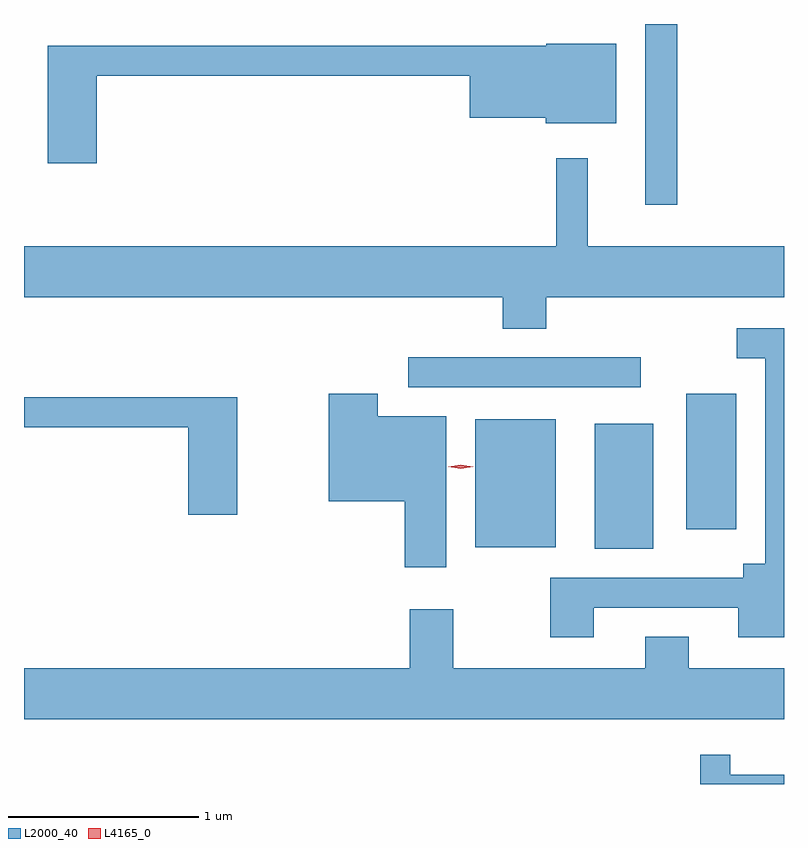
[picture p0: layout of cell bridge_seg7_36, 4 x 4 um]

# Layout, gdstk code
import gdstk
lib = gdstk.Library(unit=1e-6, precision=1e-09)
def R(c, l, rs):  # rectangles x0, y0, x1, y1
    for r in rs: c.add(gdstk.rectangle(r[:2], r[2:], *l))
def P(c, l, *ps):  # polygons
    for p in ps: c.add(gdstk.Polygon(p, *l))
L2000_40 = (2000, 40)
L4165_0 = (4165, 0)

bridge_seg7_36 = lib.new_cell('bridge_seg7_36')
R(bridge_seg7_36, L2000_40, [(1704.066,1795.131,1704.374,1795.789), (1703.436,1795.141,1703.859,1795.814), (1704.546,1795.236,1704.809,1795.949), (1703.083,1795.981,1704.308,1796.139), (1704.331,1796.943,1704.499,1797.894)])
P(bridge_seg7_36, L2000_40, [(1701.444,1797.621),(1703.406,1797.621),(1703.406,1797.401),(1703.806,1797.401),(1703.806,1797.371),(1704.179,1797.371),(1704.179,1797.789),(1703.81,1797.789),(1703.81,1797.779),(1701.186,1797.779),(1701.186,1797.161),(1701.444,1797.161)],
  [(1703.809,1796.456),(1705.061,1796.456),(1705.061,1796.724),(1704.029,1796.724),(1704.029,1797.188),(1703.861,1797.188),(1703.861,1796.724),(1701.061,1796.724),(1701.061,1796.456),(1703.581,1796.456),(1703.581,1796.291),(1703.809,1796.291)],
  [(1704.059,1794.821),(1704.821,1794.821),(1704.821,1794.666),(1705.061,1794.666),(1705.061,1796.294),(1704.813,1796.294),(1704.813,1796.136),(1704.961,1796.136),(1704.961,1795.054),(1704.846,1795.054),(1704.846,1794.979),(1703.831,1794.979),(1703.831,1794.666),(1704.059,1794.666)],
  [(1703.284,1795.829),(1702.924,1795.829),(1702.924,1795.949),(1702.666,1795.949),(1702.666,1795.381),(1703.066,1795.381),(1703.066,1795.036),(1703.284,1795.036)],
  [(1702.184,1795.929),(1701.061,1795.929),(1701.061,1795.771),(1701.926,1795.771),(1701.926,1795.311),(1702.184,1795.311)],
  [(1705.061,1794.504),(1704.559,1794.504),(1704.559,1794.669),(1704.331,1794.669),(1704.331,1794.504),(1703.319,1794.504),(1703.319,1794.814),(1703.091,1794.814),(1703.091,1794.504),(1701.061,1794.504),(1701.061,1794.236),(1705.061,1794.236)],
  [(1705.061,1793.944),(1704.779,1793.944),(1704.779,1794.048),(1704.621,1794.048),(1704.621,1793.894),(1705.061,1793.894)])
P(bridge_seg7_36, L4165_0, [(1703.36,1795.554),(1703.294,1795.564),(1703.293,1795.564),(1703.294,1795.565),(1703.36,1795.574),(1703.426,1795.565),(1703.426,1795.564),(1703.426,1795.564)])

lib.write_gds('bridge_seg7_36.gds')
